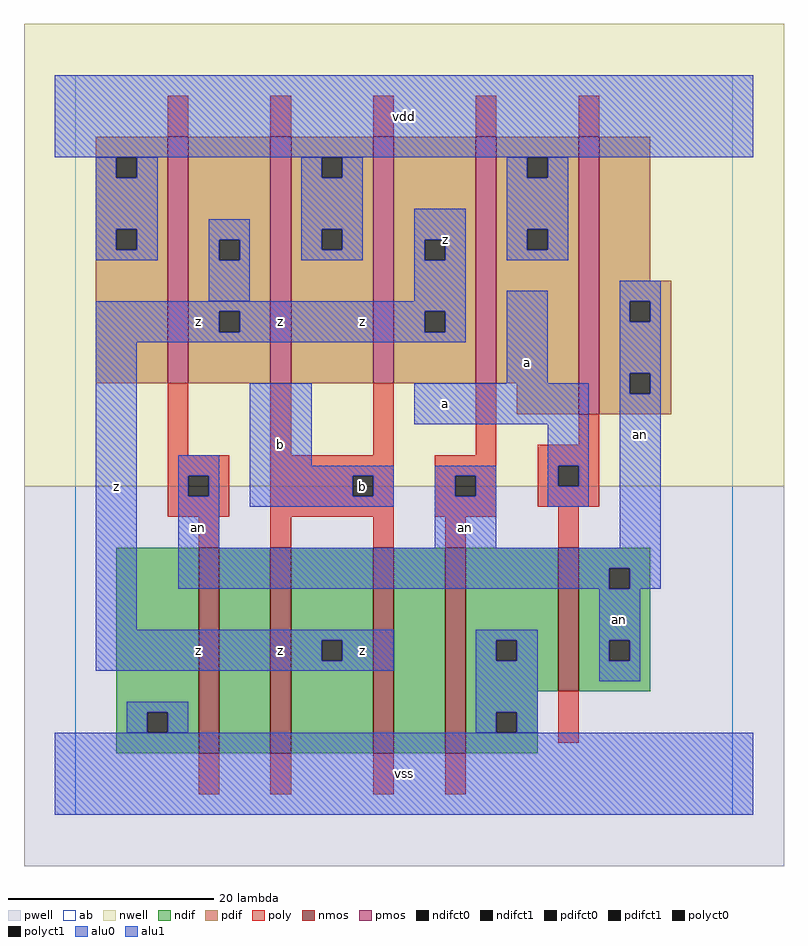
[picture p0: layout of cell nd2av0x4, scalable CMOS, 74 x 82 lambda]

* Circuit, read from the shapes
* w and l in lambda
.subckt nd2av0x4 a an b vdd vss z
M1 n1 an vss VSUBS nfet w=20 l=2
M2 z b n1 VSUBS nfet w=20 l=2
M3 n2 b z VSUBS nfet w=20 l=2
M4 vss an n2 VSUBS nfet w=20 l=2
M5 an a vss VSUBS nfet w=14 l=2
M6 z an vdd n3 pfet w=24 l=2 m=2
M7 vdd b z n3 pfet w=24 l=2 m=2
M8 an a vdd n3 pfet w=27 l=2
.ends

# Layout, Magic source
magic
tech scmos
<< ab >>
rect 0 0 64 72
<< nwell >>
rect -5 32 69 77
<< pwell >>
rect -5 -5 69 32
<< poly >>
rect 9 66 11 70
rect 19 66 21 70
rect 29 66 31 70
rect 39 66 41 70
rect 49 66 51 70
rect 9 35 11 42
rect 19 35 21 42
rect 29 35 31 42
rect 39 35 41 42
rect 49 36 51 39
rect 9 33 15 35
rect 9 31 11 33
rect 13 31 15 33
rect 9 29 15 31
rect 19 33 31 35
rect 19 31 27 33
rect 29 31 31 33
rect 19 29 31 31
rect 35 33 41 35
rect 35 31 37 33
rect 39 31 41 33
rect 35 29 41 31
rect 45 34 51 36
rect 45 32 47 34
rect 49 32 51 34
rect 45 30 51 32
rect 12 26 14 29
rect 19 26 21 29
rect 29 26 31 29
rect 36 26 38 29
rect 47 26 49 30
rect 47 7 49 12
rect 12 2 14 6
rect 19 2 21 6
rect 29 2 31 6
rect 36 2 38 6
<< ndif >>
rect 4 10 12 26
rect 4 8 7 10
rect 9 8 12 10
rect 4 6 12 8
rect 14 6 19 26
rect 21 17 29 26
rect 21 15 24 17
rect 26 15 29 17
rect 21 6 29 15
rect 31 6 36 26
rect 38 17 47 26
rect 38 15 41 17
rect 43 15 47 17
rect 38 12 47 15
rect 49 24 56 26
rect 49 22 52 24
rect 54 22 56 24
rect 49 17 56 22
rect 49 15 52 17
rect 54 15 56 17
rect 49 12 56 15
rect 38 10 45 12
rect 38 8 41 10
rect 43 8 45 10
rect 38 6 45 8
<< pdif >>
rect 2 64 9 66
rect 2 62 4 64
rect 6 62 9 64
rect 2 57 9 62
rect 2 55 4 57
rect 6 55 9 57
rect 2 42 9 55
rect 11 56 19 66
rect 11 54 14 56
rect 16 54 19 56
rect 11 49 19 54
rect 11 47 14 49
rect 16 47 19 49
rect 11 42 19 47
rect 21 64 29 66
rect 21 62 24 64
rect 26 62 29 64
rect 21 57 29 62
rect 21 55 24 57
rect 26 55 29 57
rect 21 42 29 55
rect 31 56 39 66
rect 31 54 34 56
rect 36 54 39 56
rect 31 49 39 54
rect 31 47 34 49
rect 36 47 39 49
rect 31 42 39 47
rect 41 64 49 66
rect 41 62 44 64
rect 46 62 49 64
rect 41 57 49 62
rect 41 55 44 57
rect 46 55 49 57
rect 41 42 49 55
rect 43 39 49 42
rect 51 52 56 66
rect 51 50 58 52
rect 51 48 54 50
rect 56 48 58 50
rect 51 43 58 48
rect 51 41 54 43
rect 56 41 58 43
rect 51 39 58 41
<< alu1 >>
rect -2 64 66 72
rect 33 56 38 59
rect 33 54 34 56
rect 36 54 38 56
rect 33 50 38 54
rect 2 49 38 50
rect 2 47 14 49
rect 16 47 34 49
rect 36 47 38 49
rect 2 46 38 47
rect 2 18 6 46
rect 42 42 46 51
rect 17 34 23 42
rect 33 38 50 42
rect 46 34 50 38
rect 17 33 31 34
rect 17 31 27 33
rect 29 31 31 33
rect 17 30 31 31
rect 46 32 47 34
rect 49 32 50 34
rect 46 30 50 32
rect 2 17 31 18
rect 2 15 24 17
rect 26 15 31 17
rect 2 14 31 15
rect -2 0 66 8
<< nmos >>
rect 12 6 14 26
rect 19 6 21 26
rect 29 6 31 26
rect 36 6 38 26
rect 47 12 49 26
<< pmos >>
rect 9 42 11 66
rect 19 42 21 66
rect 29 42 31 66
rect 39 42 41 66
rect 49 39 51 66
<< polyct0 >>
rect 11 31 13 33
rect 37 31 39 33
<< polyct1 >>
rect 27 31 29 33
rect 47 32 49 34
<< ndifct0 >>
rect 7 8 9 10
rect 41 15 43 17
rect 52 22 54 24
rect 52 15 54 17
rect 41 8 43 10
<< ndifct1 >>
rect 24 15 26 17
<< pdifct0 >>
rect 4 62 6 64
rect 4 55 6 57
rect 14 54 16 56
rect 24 62 26 64
rect 24 55 26 57
rect 44 62 46 64
rect 44 55 46 57
rect 54 48 56 50
rect 54 41 56 43
<< pdifct1 >>
rect 14 47 16 49
rect 34 54 36 56
rect 34 47 36 49
<< alu0 >>
rect 2 62 4 64
rect 6 62 8 64
rect 2 57 8 62
rect 22 62 24 64
rect 26 62 28 64
rect 2 55 4 57
rect 6 55 8 57
rect 2 54 8 55
rect 13 56 17 58
rect 13 54 14 56
rect 16 54 17 56
rect 22 57 28 62
rect 42 62 44 64
rect 46 62 48 64
rect 22 55 24 57
rect 26 55 28 57
rect 22 54 28 55
rect 42 57 48 62
rect 42 55 44 57
rect 46 55 48 57
rect 42 54 48 55
rect 13 50 17 54
rect 53 50 57 52
rect 53 48 54 50
rect 56 48 57 50
rect 53 43 57 48
rect 10 33 14 35
rect 10 31 11 33
rect 13 31 14 33
rect 10 26 14 31
rect 35 33 41 34
rect 35 31 37 33
rect 39 31 41 33
rect 35 26 41 31
rect 53 41 54 43
rect 56 41 57 43
rect 53 26 57 41
rect 10 24 57 26
rect 10 22 52 24
rect 54 22 57 24
rect 39 17 45 18
rect 39 15 41 17
rect 43 15 45 17
rect 5 10 11 11
rect 5 8 7 10
rect 9 8 11 10
rect 39 10 45 15
rect 51 17 55 22
rect 51 15 52 17
rect 54 15 55 17
rect 51 13 55 15
rect 39 8 41 10
rect 43 8 45 10
<< labels >>
rlabel alu0 12 28 12 28 6 an
rlabel alu0 53 19 53 19 6 an
rlabel alu0 38 28 38 28 6 an
rlabel alu0 55 37 55 37 6 an
rlabel alu1 12 16 12 16 6 z
rlabel alu1 4 32 4 32 6 z
rlabel alu1 12 48 12 48 6 z
rlabel alu1 20 16 20 16 6 z
rlabel alu1 28 16 28 16 6 z
rlabel polyct1 28 32 28 32 6 b
rlabel alu1 20 36 20 36 6 b
rlabel alu1 20 48 20 48 6 z
rlabel alu1 28 48 28 48 6 z
rlabel alu1 32 4 32 4 6 vss
rlabel alu1 36 40 36 40 6 a
rlabel alu1 44 44 44 44 6 a
rlabel alu1 36 56 36 56 6 z
rlabel alu1 32 68 32 68 6 vdd
<< end >>
